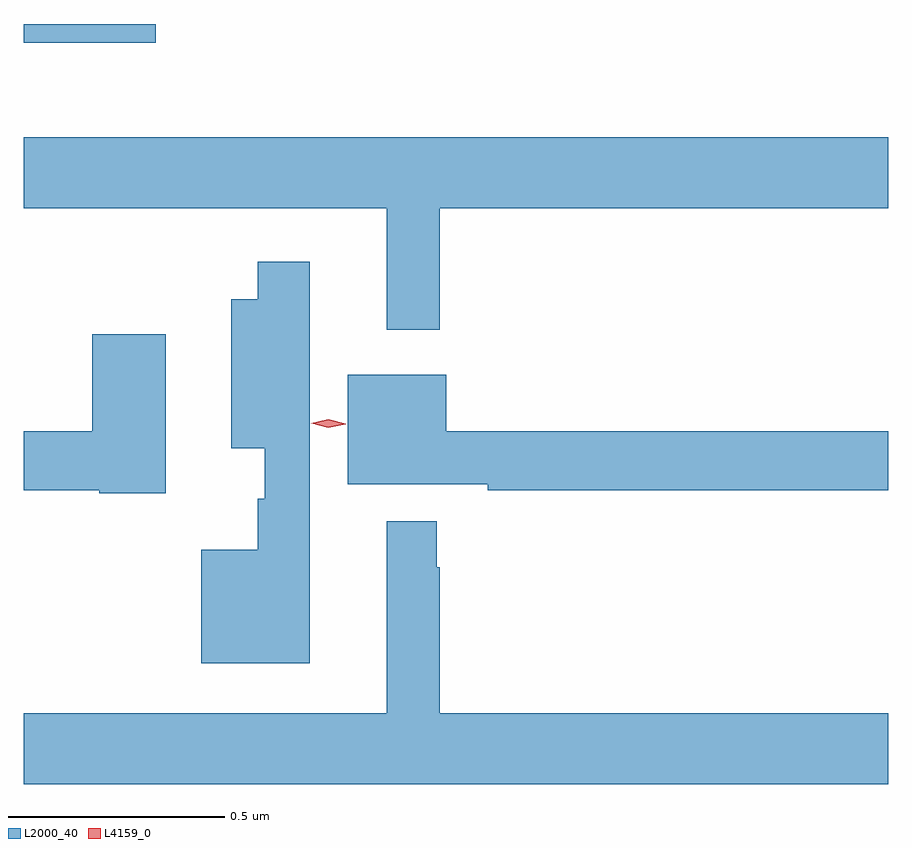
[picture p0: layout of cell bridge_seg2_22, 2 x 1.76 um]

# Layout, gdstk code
import gdstk
lib = gdstk.Library(unit=1e-6, precision=1e-09)
def R(c, l, rs):  # rectangles x0, y0, x1, y1
    for r in rs: c.add(gdstk.rectangle(r[:2], r[2:], *l))
def P(c, l, *ps):  # polygons
    for p in ps: c.add(gdstk.Polygon(p, *l))
L2000_40 = (2000, 40)
L4159_0 = (4159, 0)

bridge_seg2_22 = lib.new_cell('bridge_seg2_22')
R(bridge_seg2_22, L2000_40, [(838.499,638.695,838.804,638.738)])
P(bridge_seg2_22, L2000_40, [(839.461,638.312),(840.499,638.312),(840.499,638.476),(838.499,638.476),(838.499,638.312),(839.339,638.312),(839.339,638.031),(839.461,638.031)],
  [(839.161,638.188),(839.04,638.188),(839.04,638.101),(838.979,638.101),(838.979,637.757),(839.057,637.757),(839.057,637.64),(839.04,637.64),(839.04,637.522),(838.91,637.522),(838.91,637.259),(839.161,637.259)],
  [(838.828,638.02),(838.658,638.02),(838.658,637.796),(838.499,637.796),(838.499,637.66),(838.674,637.66),(838.674,637.652),(838.828,637.652)],
  [(840.499,637.796),(839.476,637.796),(839.476,637.927),(839.249,637.927),(839.249,637.673),(839.572,637.673),(839.572,637.66),(840.499,637.66)],
  [(840.499,637.144),(839.461,637.144),(839.461,637.481),(839.454,637.481),(839.454,637.588),(839.339,637.588),(839.339,637.144),(838.499,637.144),(838.499,636.98),(840.499,636.98)])
P(bridge_seg2_22, L4159_0, [(839.204,637.804),(839.164,637.815),(839.163,637.815),(839.164,637.815),(839.204,637.824),(839.244,637.813),(839.244,637.813),(839.244,637.812)])

lib.write_gds('bridge_seg2_22.gds')
